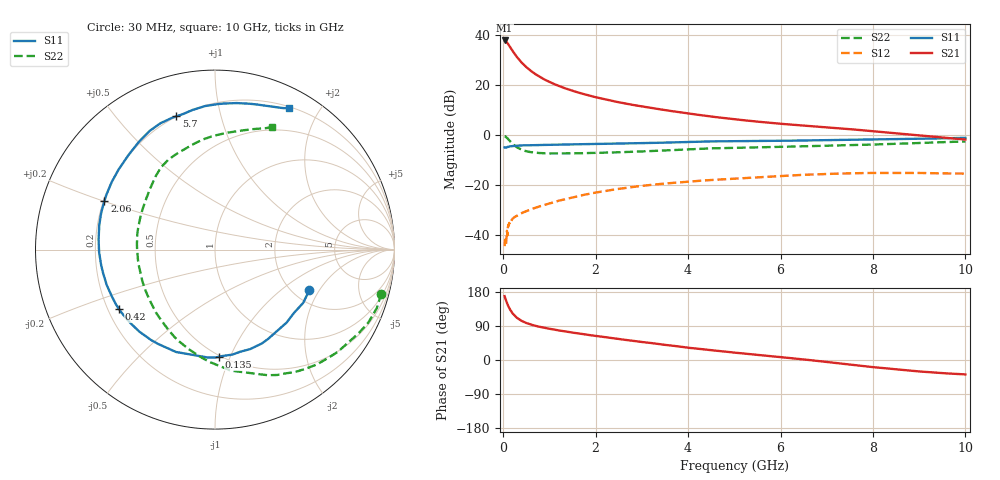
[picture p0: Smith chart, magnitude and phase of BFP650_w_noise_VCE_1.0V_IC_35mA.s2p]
! Infineon Technologies  Discrete & RF Semiconductors
! BFP650
! VCE =  1.0 V,  IC =  35 mA
! Common Emitter S-Parameters:  Jan 2016
# GHz  S  MA  R  50
!  f  S11  S21  S12  S22
! GHz  MAG  ANG  MAG  ANG  MAG  ANG  MAG  ANG
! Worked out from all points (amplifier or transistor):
!   229 points, 30 MHz to 10 GHz, reference 50 ohm
!   highest |S21| = 37.9 dB at 30 MHz (marker M1)
!   |S21| within 3 dB of that: start of sweep to 161.4 MHz
!   unconditionally stable (mu >= 1): 2.179 GHz to end of sweep
!   at 280 MHz: K = 0.37, MSG = 32.0 dB, |S12| = -32.3 dB
!   at 1.78 GHz: K = 0.97, MSG = 20.0 dB, |S12| = -23.7 dB
!   at 10 GHz: K = 1.04, MAG = 5.6 dB, |S12| = -15.3 dB
!   lowest NFmin = 0.81 dB at 450 MHz
!   S11 on the Smith chart (normalised r, x): 30 MHz: 2.44, -1.64; 135 MHz: 0.49, -0.91; 420 MHz: 0.25, -0.27; 2.06 GHz: 0.20, +0.20; 5.7 GHz: 0.20, +0.73; 10 GHz: 0.22, +1.63
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0.03  0.5724 -23.2  78.37 168.4  0.0061 91.3  0.959 -14.8
0.04  0.5739 -31.2  77.92 164.5  0.0082 81.7  0.9586 -19.9
0.05  0.5639 -38.6  76.02 160.6  0.0077 81.7  0.9462 -25.4
0.06  0.5696 -45.5  75.25 157.5  0.0065 78.9  0.927 -30.0
0.08  0.579 -59.3  71.63 150.7  0.0124 61.8  0.8906 -39.7
0.11  0.5862 -76.2  65.69 142.0  0.0163 59.1  0.8339 -52.8
0.135  0.5974 -87.8  60.43 135.9  0.0173 57.5  0.7856 -62.1
0.2  0.6103 -110.8  48.95 123.3  0.0215 51.6  0.6806 -82.4
0.26  0.617 -125.3  40.76 115.3  0.0237 48.0  0.6088 -96.6
0.34  0.6238 -138.5  32.68 107.7  0.0262 44.0  0.5476 -111.8
0.42  0.6287 -148.1  27.11 102.0  0.0284 44.0  0.5062 -123.3
0.6  0.6348 -161.9  19.27 93.4  0.0332 44.2  0.4604 -142.3
0.9  0.6424 -175.4  12.89 84.7  0.0408 46.7  0.4357 -161.7
1.22  0.6509 175.0  9.526 77.7  0.0498 47.2  0.4326 -175.0
1.7  0.664 163.7  6.816 68.8  0.0634 45.7  0.4391 170.9
2.06  0.6725 156.4  5.598 62.6  0.0733 43.2  0.4461 162.5
3.4  0.7099 134.0  3.292 41.6  0.1065 31.7  0.4931 137.6
5.1  0.7675 112.2  2.044 18.4  0.1374 15.4  0.566 116.3
5.7  0.773 106.2  1.8 11.2  0.1478 10.2  0.5795 109.2
6.8  0.7954 96.0  1.493 -2.4  0.1665 -0.9  0.6115 97.8
8.4  0.8356 76.5  1.118 -23.6  0.1772 -18.2  0.6712 79.5
10  0.8882 62.3  0.823 -38.0  0.1716 -30.4  0.7529 65.1
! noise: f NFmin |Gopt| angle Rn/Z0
0.45  0.81  0.09  148  1.85
0.9  0.85  0.32  -170  0.08
1.9  0.98  0.37  -157  0.07
2.4  1.06  0.38  -146  0.07
3.5  1.26  0.4  -123  0.13
